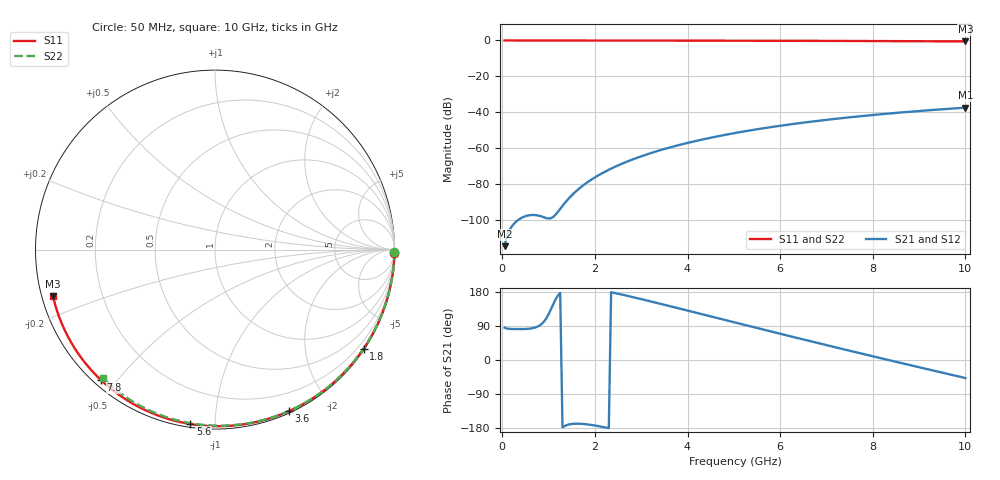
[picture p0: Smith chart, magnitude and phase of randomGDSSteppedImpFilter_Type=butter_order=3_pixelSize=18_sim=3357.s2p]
! freq	dB(S11)	phase(S11)	dB(S12)	phase(S12)
!  dB(S21)	phase(S21)	dB(S22)	phase(S22)
!S-par simulation data
#  GHz  S  DB  R 50
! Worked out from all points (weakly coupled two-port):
!   200 points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, 50 MHz to 10 GHz, reference 50 ohm
!   highest |S21| = -37.38 dB at 10 GHz (marker M1); lowest = -114.4 dB at 50 MHz (marker M2)
!   lowest |S11| = -0.5 dB at 10 GHz (marker M3), VSWR 31.82, Z = 1.6 - j7 ohm
!   |S11| at or under -10 dB: nowhere
!   |S22| runs from -0.4 to 0.0 dB; largest |S21 - S12| = 0
!   S11 on the Smith chart (normalised r, x): 50 MHz: open; 1.8 GHz: 0.03, -3.30; 3.6 GHz: 0.02, -1.56; 5.6 GHz: 0.02, -0.87; 7.8 GHz: 0.02, -0.45; 10 GHz: 0.03, -0.14
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0.05  -0.00 -1.0  -114.41 85.4  -114.41 85.4  -0.00 -0.8
0.45  -0.01 -8.6  -98.22 81.6  -98.22 81.6  -0.01 -6.8
0.85  -0.02 -16.1  -97.92 95.1  -97.92 95.1  -0.02 -12.8
1.3  -0.03 -24.5  -91.99 -177.7  -91.99 -177.7  -0.02 -19.5
1.75  -0.04 -32.8  -80.53 -168.8  -80.53 -168.8  -0.03 -26.2
1.8  -0.04 -33.7  -79.58 -169.4  -79.58 -169.4  -0.03 -26.9
2.1  -0.05 -39.1  -74.64 -175.0  -74.64 -175.0  -0.04 -31.3
2.3  -0.05 -42.7  -71.91 -179.8  -71.91 -179.8  -0.04 -34.2
2.5  -0.06 -46.3  -69.49 174.9  -69.49 174.9  -0.05 -37.1
2.9  -0.07 -53.4  -65.35 163.6  -65.35 163.6  -0.06 -42.8
3.4  -0.08 -62.1  -61.12 148.8  -61.12 148.8  -0.07 -49.8
3.6  -0.09 -65.5  -59.64 142.7  -59.64 142.7  -0.07 -52.6
4.3  -0.11 -77.2  -55.20 121.3  -55.20 121.3  -0.09 -62.1
5.05  -0.14 -89.3  -51.36 98.3  -51.36 98.3  -0.11 -72.1
5.6  -0.16 -98.0  -48.99 81.4  -48.99 81.4  -0.13 -79.2
6.15  -0.19 -106.5  -46.91 64.8  -46.91 64.8  -0.15 -86.1
6.7  -0.22 -114.8  -45.07 48.2  -45.07 48.2  -0.18 -92.9
7.25  -0.26 -123.1  -43.43 31.8  -43.43 31.8  -0.21 -99.5
7.8  -0.31 -131.2  -41.96 15.6  -41.96 15.6  -0.25 -106.1
8.35  -0.36 -139.3  -40.63 -0.4  -40.63 -0.4  -0.29 -112.5
9.2  -0.45 -151.9  -38.83 -24.8  -38.83 -24.8  -0.36 -122.2
10  -0.55 -164.0  -37.38 -47.6  -37.38 -47.6  -0.44 -131.2
